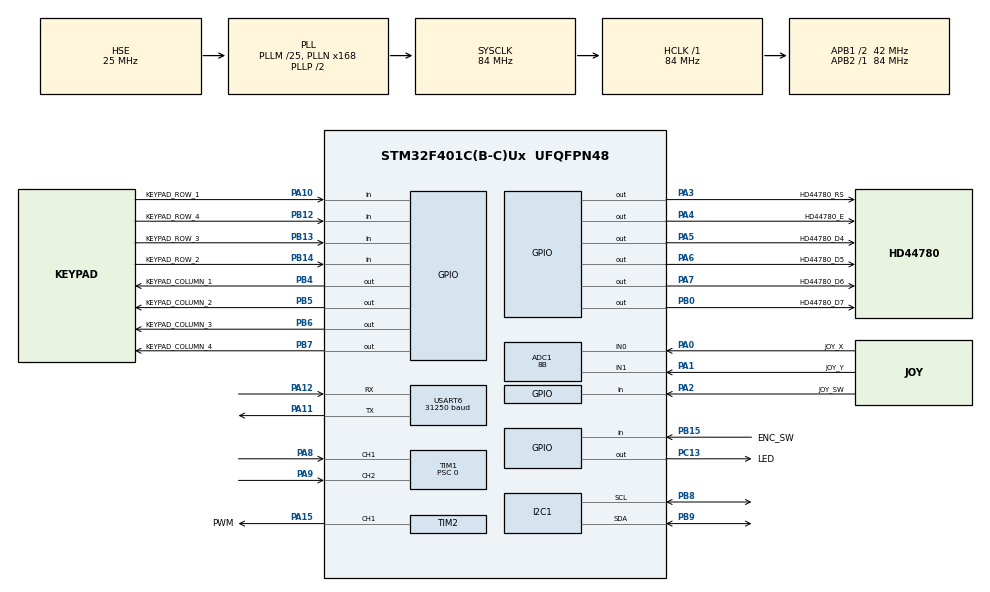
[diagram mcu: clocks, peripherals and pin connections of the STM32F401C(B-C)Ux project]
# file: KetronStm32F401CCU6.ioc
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Mcu.Family=STM32F4
PA2.GPIO_PuPd=GPIO_PULLUP
RCC.CortexFreq_Value=84000000
PA10.GPIO_PuPd=GPIO_PULLUP
PB14.GPIO_Label=KEYPAD_ROW_2
TIM1.EncoderMode=TIM_ENCODERMODE_TI12
PA11.Mode=Asynchronous
PA6.GPIO_Label=HD44780_D5
PB0.GPIO_Label=HD44780_D7
PB6.GPIO_Label=KEYPAD_COLUMN_3
PB13.GPIO_Label=KEYPAD_ROW_3
PA3.GPIO_Speed=GPIO_SPEED_FREQ_LOW
PB13.Signal=GPIO_Input
PB15.Signal=GPIO_Input
PA5.PinState=GPIO_PIN_SET
Dma.USART6_TX.0.Mode=DMA_NORMAL
RCC.SYSCLKSource=RCC_SYSCLKSOURCE_PLLCLK
ProjectManager.StackSize=0x400
PA15.GPIO_Label=PWM
Dma.USART6_TX.0.FIFOMode=DMA_FIFOMODE_DISABLE
PA12.Signal=USART6_RX
Dma.USART6_TX.0.Direction=DMA_MEMORY_TO_PERIPH
TIM1.Prescaler=0
PH0\ -\ OSC_IN.Signal=RCC_OSC_IN
PA7.PinState=GPIO_PIN_SET
Dma.USART6_TX.0.Instance=DMA2_Stream6
RCC.HCLKFreq_Value=84000000
ADC1.Resolution=ADC_RESOLUTION_8B
RCC.APB2TimFreq_Value=84000000
PB6.Signal=GPIO_Output
RCC.AHBFreq_Value=84000000
ADC1.Channel-0\#ChannelRegularConversion=ADC_CHANNEL_0
RCC.HSE_VALUE=25000000
PC13-ANTI_TAMP.Signal=GPIO_Output
PA4.GPIO_Speed=GPIO_SPEED_FREQ_LOW
PB12.GPIO_Label=KEYPAD_ROW_4
USART6.OverSampling=UART_OVERSAMPLING_8
NVIC.TIM2_IRQn=true\:1\:1\:true\:false\:true\:true\:true
PA10.GPIO_Label=KEYPAD_ROW_1
PB7.Signal=GPIO_Output
PA8.Signal=S_TIM1_CH1
SH.ADCx_IN0.0=ADC1_IN0,IN0
TIM2.Channel-PWM\ Generation1\ CH1=TIM_CHANNEL_1
ADC1.SamplingTime-0\#ChannelRegularConversion=ADC_SAMPLETIME_3CYCLES
PB7.GPIO_Label=KEYPAD_COLUMN_4
Mcu.Package=UFQFPN48
PB9.Signal=I2C1_SDA
TIM2.Prescaler=83
PB14.GPIO_PuPd=GPIO_PULLUP
PA6.Signal=GPIO_Output
PB15.GPIO_PuPd=GPIO_PULLUP
USART6.VirtualMode=VM_ASYNC
PA2.GPIO_Label=JOY_SW
PA10.Signal=GPIO_Input
PA15.Signal=S_TIM2_CH1_ETR
USART6.BaudRate=31250
PB5.GPIO_Speed=GPIO_SPEED_FREQ_MEDIUM
SH.ADCx_IN1.0=ADC1_IN1,IN1
PB5.GPIO_Label=KEYPAD_COLUMN_2
RCC.APB1TimFreq_Value=84000000
TIM1.Period=512
PA6.GPIO_Speed=GPIO_SPEED_FREQ_LOW
Dma.Request0=USART6_TX
Dma.USART6_TX.0.MemDataAlignment=DMA_MDATAALIGN_BYTE
PA4.GPIO_Label=HD44780_E
PB4.Signal=GPIO_Output
PA3.Signal=GPIO_Output
PB7.GPIO_Speed=GPIO_SPEED_FREQ_MEDIUM
RCC.PLLSourceVirtual=RCC_PLLSOURCE_HSE
Dma.USART6_TX.0.MemInc=DMA_MINC_ENABLE
ADC1.Rank-0\#ChannelRegularConversion=1
PC13-ANTI_TAMP.GPIO_Label=LED
PH1\ -\ OSC_OUT.Mode=HSE-External-Oscillator
PA6.PinState=GPIO_PIN_SET
RCC.APB1CLKDivider=RCC_HCLK_DIV2
PA0-WKUP.GPIO_Label=JOY_X
PA0-WKUP.Signal=ADCx_IN0
NVIC.USART6_IRQn=true\:1\:2\:true\:false\:true\:true\:false
PB0.GPIO_Speed=GPIO_SPEED_FREQ_LOW
PH0\ -\ OSC_IN.Mode=HSE-External-Oscillator
SH.S_TIM1_CH1.0=TIM1_CH1,Encoder_Interface
PA4.PinState=GPIO_PIN_SET
ProjectManager.TargetToolchain=STM32CubeIDE
PB9.Mode=I2C
PA9.Signal=S_TIM1_CH2
RCC.LSE_VALUE=32768
PA1.Signal=ADCx_IN1
PB14.Signal=GPIO_Input
PA5.Signal=GPIO_Output
PH1\ -\ OSC_OUT.Signal=RCC_OSC_OUT
board=custom
RCC.VCOOutputFreq_Value=168000000
PA7.GPIO_Speed=GPIO_SPEED_FREQ_LOW
PB13.GPIO_PuPd=GPIO_PULLUP
PB4.GPIO_Speed=GPIO_SPEED_FREQ_MEDIUM
RCC.APB2Freq_Value=84000000
PB4.GPIO_Label=KEYPAD_COLUMN_1
PB15.GPIO_Label=ENC_SW
SH.S_TIM1_CH2.0=TIM1_CH2,Encoder_Interface
VP_TIM2_VS_ClockSourceINT.Mode=Internal
PA1.GPIO_Label=JOY_Y
TIM1.IC2Filter=10
Dma.USART6_TX.0.PeriphInc=DMA_PINC_DISABLE
TIM2.Period=999
ADC1.NbrOfConversion=1
Mcu.Name=STM32F401C(B-C)Ux
PA2.Signal=GPIO_Input
RCC.48MHZClocksFreq_Value=42000000
PA4.Signal=GPIO_Output
RCC.SYSCLKFreq_VALUE=84000000
PB5.Signal=GPIO_Output
PA7.GPIO_Label=HD44780_D6
ADC1.master=1
PA12.Mode=Asynchronous
PA5.GPIO_Label=HD44780_D4
TIM1.IC1Filter=10
PA11.Signal=USART6_TX
SH.S_TIM2_CH1_ETR.0=TIM2_CH1,PWM Generation1 CH1
ProjectManager.HeapSize=0x200
RCC.HSI_VALUE=16000000
PA5.GPIO_Speed=GPIO_SPEED_FREQ_LOW
NVIC.PriorityGroup=NVIC_PRIORITYGROUP_2
ADC1.NbrOfConversionFlag=1
RCC.PLLM=25
PB8.Mode=I2C
RCC.PLLN=168
Dma.USART6_TX.0.Priority=DMA_PRIORITY_MEDIUM
PB8.Signal=I2C1_SCL
TIM2.AutoReloadPreload=TIM_AUTORELOAD_PRELOAD_ENABLE
PA3.PinState=GPIO_PIN_SET
PB6.GPIO_Speed=GPIO_SPEED_FREQ_MEDIUM
PB12.GPIO_PuPd=GPIO_PULLUP
RCC.APB1Freq_Value=42000000
PB0.Signal=GPIO_Output
PB12.Signal=GPIO_Input
Dma.USART6_TX.0.PeriphDataAlignment=DMA_PDATAALIGN_BYTE
PA3.GPIO_Label=HD44780_RS
PA7.Signal=GPIO_Output

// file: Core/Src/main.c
/* USER CODE BEGIN Header */
/**
 ******************************************************************************
 * @file           : main.c
 * @brief          : Main program body
 ******************************************************************************
 * @attention
 *
 * <h2><center>&copy; Copyright (c) 2021 STMicroelectronics.
 * All rights reserved.</center></h2>
 *
 * This software component is licensed by ST under BSD 3-Clause license,
 * the "License"; You may not use this file except in compliance with the
 * License. You may obtain a copy of the License at:
 *                        opensource.org/licenses/BSD-3-Clause
 *
 ******************************************************************************
 */
/* USER CODE END Header */
#include "main.h"

/* USER CODE BEGIN Includes */
#include "stdio.h"
#include "tm_stm32_hd44780.h"
#include "tm_stm32f4_keypad.h"
#include "UartRingbuffer.h"
#include "midi.h"
#include "input.h"
#include "ee24Config.h"
#include "ee24.h"
/* USER CODE END Includes */

ADC_HandleTypeDef hadc1;

I2C_HandleTypeDef hi2c1;

TIM_HandleTypeDef htim1;
TIM_HandleTypeDef htim2;

UART_HandleTypeDef huart6;
DMA_HandleTypeDef hdma_usart6_tx;

/* USER CODE BEGIN PV */
char lcdText[2][16];
TM_KEYPAD_Button_t userKey;
struct Joystick joystick;
struct Encoder encoder;
struct Settings settings;
/* USER CODE END PV */

void SystemClock_Config(void);
static void MX_GPIO_Init(void);
static void MX_DMA_Init(void);
static void MX_I2C1_Init(void);
static void MX_ADC1_Init(void);
static void MX_USART6_UART_Init(void);
static void MX_TIM2_Init(void);
static void MX_TIM1_Init(void);
/* USER CODE BEGIN PFP */
void ADC_SetActiveChannel(ADC_HandleTypeDef *hadc, uint32_t AdcChannel);
/* USER CODE END PFP */

int main(void)
{
  /* USER CODE BEGIN 1 */

	uint8_t uartRead;
	uint8_t msgLength = 0;
	uint8_t msgType = 0;
	BOOL result;

	CoreDebug->DEMCR |= CoreDebug_DEMCR_TRCENA_Msk;
	DWT->CYCCNT = 0;
	DWT->CTRL |= DWT_CTRL_CYCCNTENA_Msk;

  /* USER CODE END 1 */

  /* MCU Configuration--------------------------------------------------------*/

  /* Reset of all peripherals, Initializes the Flash interface and the Systick. */
  HAL_Init();

  /* Configure the system clock */
  SystemClock_Config();

  /* Initialize all configured peripherals */
  MX_GPIO_Init();
  MX_DMA_Init();
  MX_I2C1_Init();
  MX_ADC1_Init();
  MX_USART6_UART_Init();
  MX_TIM2_Init();
  MX_TIM1_Init();
  /* USER CODE BEGIN 2 */
	initControls(&joystick,&encoder);
	Ringbuf_init();
	TM_KEYPAD_Init();
	TM_HD44780_Init(16, 2);
	HAL_TIM_PWM_Init(&htim2);
	HAL_TIM_Encoder_Start(&htim1, TIM_CHANNEL_ALL);
	HAL_TIM_Base_Start_IT(&htim2);
	HAL_TIM_PWM_Start(&htim2,TIM_CHANNEL_1);
	TIM2->ARR = 127;
	TIM2->CCR1 = 40;
	HAL_ADC_Start(&hadc1);

	TM_HD44780_Clear();
	TM_HD44780_Puts(0, 0, "Ketron");

	if((result = ee24_isConnected()) ==FALSE){
		TM_HD44780_Puts(0, 1, "EEPROM fail");
	}
	else{
		settings.family_left = 1;
		settings.instrument_left = 1;
		settings.family_right = 2;
		settings.instrument_right = 2;
		settings.family_left = settings.family_right = settings.instrument_left = settings.instrument_right = 0;
		if(result == TRUE)
			result = ee24_read(_EEPROM_ADDRESS, (uint8_t *)(&settings), sizeof(struct Settings), 100);
	}
  /* USER CODE END 2 */

  /* Infinite loop */
  /* USER CODE BEGIN WHILE */
	while (1) {
		userKey = TM_KEYPAD_Read();
		if(userKey != TM_KEYPAD_Button_NOPRESSED){
			sprintf(lcdText[0],"%d",userKey);
			TM_HD44780_Puts(0, 0, lcdText[0]);
		}
		if(joystickPressed(&joystick) == TRUE){
			TM_HD44780_Puts(0, 0, "Joystick");
		}
		if(encoderChanged(&encoder) == TRUE){
			TM_HD44780_Puts(0, 0, "Encoder");
			sprintf(lcdText[1],"%d",encoder.position);
			TM_HD44780_Puts(0, 1,lcdText[1]);
		}
    /* USER CODE END WHILE */

    /* USER CODE BEGIN 3 */
		if (IsDataAvailable() > 0) {
			uartRead = (unsigned char) Uart_read();
			if (readMidiMessage(uartRead, &msgLength,&msgType) == TRUE){
				switch(msgType){

				}
				sendMidiMessage(msgLength);
			}
		}

	}
  /* USER CODE END 3 */
}

void SystemClock_Config(void)
{
  RCC_OscInitTypeDef RCC_OscInitStruct = {0};
  RCC_ClkInitTypeDef RCC_ClkInitStruct = {0};

  /** Configure the main internal regulator output voltage
  */
  __HAL_RCC_PWR_CLK_ENABLE();
  __HAL_PWR_VOLTAGESCALING_CONFIG(PWR_REGULATOR_VOLTAGE_SCALE2);
  /** Initializes the RCC Oscillators according to the specified parameters
  * in the RCC_OscInitTypeDef structure.
  */
  RCC_OscInitStruct.OscillatorType = RCC_OSCILLATORTYPE_HSE;
  RCC_OscInitStruct.HSEState = RCC_HSE_ON;
  RCC_OscInitStruct.PLL.PLLState = RCC_PLL_ON;
  RCC_OscInitStruct.PLL.PLLSource = RCC_PLLSOURCE_HSE;
  RCC_OscInitStruct.PLL.PLLM = 25;
  RCC_OscInitStruct.PLL.PLLN = 168;
  RCC_OscInitStruct.PLL.PLLP = RCC_PLLP_DIV2;
  RCC_OscInitStruct.PLL.PLLQ = 4;
  if (HAL_RCC_OscConfig(&RCC_OscInitStruct) != HAL_OK)
  {
    Error_Handler();
  }
  /** Initializes the CPU, AHB and APB buses clocks
  */
  RCC_ClkInitStruct.ClockType = RCC_CLOCKTYPE_HCLK|RCC_CLOCKTYPE_SYSCLK
                              |RCC_CLOCKTYPE_PCLK1|RCC_CLOCKTYPE_PCLK2;
  RCC_ClkInitStruct.SYSCLKSource = RCC_SYSCLKSOURCE_PLLCLK;
  RCC_ClkInitStruct.AHBCLKDivider = RCC_SYSCLK_DIV1;
  RCC_ClkInitStruct.APB1CLKDivider = RCC_HCLK_DIV2;
  RCC_ClkInitStruct.APB2CLKDivider = RCC_HCLK_DIV1;

  if (HAL_RCC_ClockConfig(&RCC_ClkInitStruct, FLASH_LATENCY_2) != HAL_OK)
  {
    Error_Handler();
  }
}

static void MX_ADC1_Init(void)
{

  ADC_ChannelConfTypeDef sConfig = {0};

  /** Configure the global features of the ADC (Clock, Resolution, Data Alignment and number of conversion)
  */
  hadc1.Instance = ADC1;
  hadc1.Init.ClockPrescaler = ADC_CLOCK_SYNC_PCLK_DIV4;
  hadc1.Init.Resolution = ADC_RESOLUTION_8B;
  hadc1.Init.ScanConvMode = DISABLE;
  hadc1.Init.ContinuousConvMode = DISABLE;
  hadc1.Init.DiscontinuousConvMode = DISABLE;
  hadc1.Init.ExternalTrigConvEdge = ADC_EXTERNALTRIGCONVEDGE_NONE;
  hadc1.Init.ExternalTrigConv = ADC_SOFTWARE_START;
  hadc1.Init.DataAlign = ADC_DATAALIGN_RIGHT;
  hadc1.Init.NbrOfConversion = 1;
  hadc1.Init.DMAContinuousRequests = DISABLE;
  hadc1.Init.EOCSelection = ADC_EOC_SINGLE_CONV;
  if (HAL_ADC_Init(&hadc1) != HAL_OK)
  {
    Error_Handler();
  }
  /** Configure for the selected ADC regular channel its corresponding rank in the sequencer and its sample time.
  */
  sConfig.Channel = ADC_CHANNEL_0;
  sConfig.Rank = 1;
  sConfig.SamplingTime = ADC_SAMPLETIME_3CYCLES;
  if (HAL_ADC_ConfigChannel(&hadc1, &sConfig) != HAL_OK)
  {
    Error_Handler();
  }

}

static void MX_I2C1_Init(void)
{

  hi2c1.Instance = I2C1;
  hi2c1.Init.ClockSpeed = 100000;
  hi2c1.Init.DutyCycle = I2C_DUTYCYCLE_2;
  hi2c1.Init.OwnAddress1 = 0;
  hi2c1.Init.AddressingMode = I2C_ADDRESSINGMODE_7BIT;
  hi2c1.Init.DualAddressMode = I2C_DUALADDRESS_DISABLE;
  hi2c1.Init.OwnAddress2 = 0;
  hi2c1.Init.GeneralCallMode = I2C_GENERALCALL_DISABLE;
  hi2c1.Init.NoStretchMode = I2C_NOSTRETCH_DISABLE;
  if (HAL_I2C_Init(&hi2c1) != HAL_OK)
  {
    Error_Handler();
  }

}

static void MX_TIM1_Init(void)
{

  TIM_Encoder_InitTypeDef sConfig = {0};
  TIM_MasterConfigTypeDef sMasterConfig = {0};

  htim1.Instance = TIM1;
  htim1.Init.Prescaler = 0;
  htim1.Init.CounterMode = TIM_COUNTERMODE_UP;
  htim1.Init.Period = 512;
  htim1.Init.ClockDivision = TIM_CLOCKDIVISION_DIV1;
  htim1.Init.RepetitionCounter = 0;
  htim1.Init.AutoReloadPreload = TIM_AUTORELOAD_PRELOAD_DISABLE;
  sConfig.EncoderMode = TIM_ENCODERMODE_TI12;
  sConfig.IC1Polarity = TIM_ICPOLARITY_RISING;
  sConfig.IC1Selection = TIM_ICSELECTION_DIRECTTI;
  sConfig.IC1Prescaler = TIM_ICPSC_DIV1;
  sConfig.IC1Filter = 10;
  sConfig.IC2Polarity = TIM_ICPOLARITY_RISING;
  sConfig.IC2Selection = TIM_ICSELECTION_DIRECTTI;
  sConfig.IC2Prescaler = TIM_ICPSC_DIV1;
  sConfig.IC2Filter = 10;
  if (HAL_TIM_Encoder_Init(&htim1, &sConfig) != HAL_OK)
  {
    Error_Handler();
  }
  sMasterConfig.MasterOutputTrigger = TIM_TRGO_RESET;
  sMasterConfig.MasterSlaveMode = TIM_MASTERSLAVEMODE_DISABLE;
  if (HAL_TIMEx_MasterConfigSynchronization(&htim1, &sMasterConfig) != HAL_OK)
  {
    Error_Handler();
  }

}

static void MX_TIM2_Init(void)
{

  TIM_ClockConfigTypeDef sClockSourceConfig = {0};
  TIM_MasterConfigTypeDef sMasterConfig = {0};
  TIM_OC_InitTypeDef sConfigOC = {0};

  htim2.Instance = TIM2;
  htim2.Init.Prescaler = 83;
  htim2.Init.CounterMode = TIM_COUNTERMODE_UP;
  htim2.Init.Period = 999;
  htim2.Init.ClockDivision = TIM_CLOCKDIVISION_DIV1;
  htim2.Init.AutoReloadPreload = TIM_AUTORELOAD_PRELOAD_ENABLE;
  if (HAL_TIM_Base_Init(&htim2) != HAL_OK)
  {
    Error_Handler();
  }
  sClockSourceConfig.ClockSource = TIM_CLOCKSOURCE_INTERNAL;
  if (HAL_TIM_ConfigClockSource(&htim2, &sClockSourceConfig) != HAL_OK)
  {
    Error_Handler();
  }
  if (HAL_TIM_PWM_Init(&htim2) != HAL_OK)
  {
    Error_Handler();
  }
  sMasterConfig.MasterOutputTrigger = TIM_TRGO_RESET;
  sMasterConfig.MasterSlaveMode = TIM_MASTERSLAVEMODE_DISABLE;
  if (HAL_TIMEx_MasterConfigSynchronization(&htim2, &sMasterConfig) != HAL_OK)
  {
    Error_Handler();
  }
  sConfigOC.OCMode = TIM_OCMODE_PWM1;
  sConfigOC.Pulse = 0;
  sConfigOC.OCPolarity = TIM_OCPOLARITY_HIGH;
  sConfigOC.OCFastMode = TIM_OCFAST_DISABLE;
  if (HAL_TIM_PWM_ConfigChannel(&htim2, &sConfigOC, TIM_CHANNEL_1) != HAL_OK)
  {
    Error_Handler();
  }
  HAL_TIM_MspPostInit(&htim2);

}

static void MX_USART6_UART_Init(void)
{

  huart6.Instance = USART6;
  huart6.Init.BaudRate = 31250;
  huart6.Init.WordLength = UART_WORDLENGTH_8B;
  huart6.Init.StopBits = UART_STOPBITS_1;
  huart6.Init.Parity = UART_PARITY_NONE;
  huart6.Init.Mode = UART_MODE_TX_RX;
  huart6.Init.HwFlowCtl = UART_HWCONTROL_NONE;
  huart6.Init.OverSampling = UART_OVERSAMPLING_8;
  if (HAL_UART_Init(&huart6) != HAL_OK)
  {
    Error_Handler();
  }

}

static void MX_DMA_Init(void)
{

  /* DMA controller clock enable */
  __HAL_RCC_DMA2_CLK_ENABLE();

}

static void MX_GPIO_Init(void)
{
  GPIO_InitTypeDef GPIO_InitStruct = {0};

  /* GPIO Ports Clock Enable */
  __HAL_RCC_GPIOC_CLK_ENABLE();
  __HAL_RCC_GPIOH_CLK_ENABLE();
  __HAL_RCC_GPIOA_CLK_ENABLE();
  __HAL_RCC_GPIOB_CLK_ENABLE();

  /*Configure GPIO pin Output Level */
  HAL_GPIO_WritePin(LED_GPIO_Port, LED_Pin, GPIO_PIN_RESET);

  /*Configure GPIO pin Output Level */
  HAL_GPIO_WritePin(GPIOA, HD44780_RS_Pin|HD44780_E_Pin|HD44780_D4_Pin|HD44780_D5_Pin
                          |HD44780_D6_Pin, GPIO_PIN_SET);

  /*Configure GPIO pin Output Level */
  HAL_GPIO_WritePin(GPIOB, HD44780_D7_Pin|KEYPAD_COLUMN_1_Pin|KEYPAD_COLUMN_2_Pin|KEYPAD_COLUMN_3_Pin
                          |KEYPAD_COLUMN_4_Pin, GPIO_PIN_RESET);

  /*Configure GPIO pin : LED_Pin */
  GPIO_InitStruct.Pin = LED_Pin;
  GPIO_InitStruct.Mode = GPIO_MODE_OUTPUT_PP;
  GPIO_InitStruct.Pull = GPIO_NOPULL;
  GPIO_InitStruct.Speed = GPIO_SPEED_FREQ_LOW;
  HAL_GPIO_Init(LED_GPIO_Port, &GPIO_InitStruct);

  /*Configure GPIO pins : JOY_SW_Pin KEYPAD_ROW_1_Pin */
  GPIO_InitStruct.Pin = JOY_SW_Pin|KEYPAD_ROW_1_Pin;
  GPIO_InitStruct.Mode = GPIO_MODE_INPUT;
  GPIO_InitStruct.Pull = GPIO_PULLUP;
  HAL_GPIO_Init(GPIOA, &GPIO_InitStruct);

  /*Configure GPIO pins : HD44780_RS_Pin HD44780_E_Pin HD44780_D4_Pin HD44780_D5_Pin
                           HD44780_D6_Pin */
  GPIO_InitStruct.Pin = HD44780_RS_Pin|HD44780_E_Pin|HD44780_D4_Pin|HD44780_D5_Pin
                          |HD44780_D6_Pin;
  GPIO_InitStruct.Mode = GPIO_MODE_OUTPUT_PP;
  GPIO_InitStruct.Pull = GPIO_NOPULL;
  GPIO_InitStruct.Speed = GPIO_SPEED_FREQ_LOW;
  HAL_GPIO_Init(GPIOA, &GPIO_InitStruct);

  /*Configure GPIO pin : HD44780_D7_Pin */
  GPIO_InitStruct.Pin = HD44780_D7_Pin;
  GPIO_InitStruct.Mode = GPIO_MODE_OUTPUT_PP;
  GPIO_InitStruct.Pull = GPIO_NOPULL;
  GPIO_InitStruct.Speed = GPIO_SPEED_FREQ_LOW;
  HAL_GPIO_Init(HD44780_D7_GPIO_Port, &GPIO_InitStruct);

  /*Configure GPIO pins : KEYPAD_ROW_4_Pin KEYPAD_ROW_3_Pin KEYPAD_ROW_2_Pin ENC_SW_Pin */
  GPIO_InitStruct.Pin = KEYPAD_ROW_4_Pin|KEYPAD_ROW_3_Pin|KEYPAD_ROW_2_Pin|ENC_SW_Pin;
  GPIO_InitStruct.Mode = GPIO_MODE_INPUT;
  GPIO_InitStruct.Pull = GPIO_PULLUP;
  HAL_GPIO_Init(GPIOB, &GPIO_InitStruct);

  /*Configure GPIO pins : KEYPAD_COLUMN_1_Pin KEYPAD_COLUMN_2_Pin KEYPAD_COLUMN_3_Pin KEYPAD_COLUMN_4_Pin */
  GPIO_InitStruct.Pin = KEYPAD_COLUMN_1_Pin|KEYPAD_COLUMN_2_Pin|KEYPAD_COLUMN_3_Pin|KEYPAD_COLUMN_4_Pin;
  GPIO_InitStruct.Mode = GPIO_MODE_OUTPUT_PP;
  GPIO_InitStruct.Pull = GPIO_NOPULL;
  GPIO_InitStruct.Speed = GPIO_SPEED_FREQ_MEDIUM;
  HAL_GPIO_Init(GPIOB, &GPIO_InitStruct);

}

void Error_Handler(void)
{
	__disable_irq();
	while (1) {
	}
}

/************************ (C) COPYRIGHT STMicroelectronics *****END OF FILE****/
